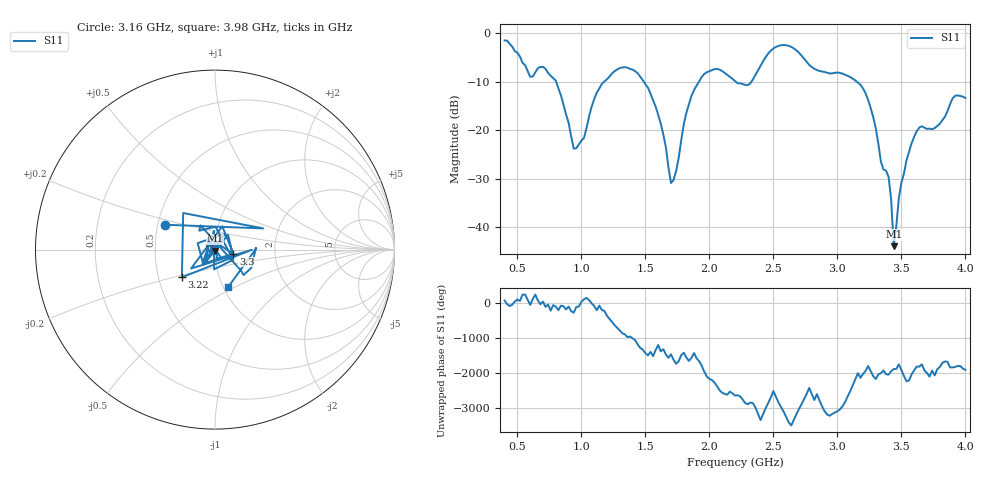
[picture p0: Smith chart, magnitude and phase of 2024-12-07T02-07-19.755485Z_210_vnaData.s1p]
!Created with skrf (http://scikit-rf.org).
# Hz S RI R 50.0
!freq ReS11 ImS11
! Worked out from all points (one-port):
!   181 points, 400 MHz to 4 GHz, reference 50 ohm
!   lowest |S11| = -43.9 dB at 3.44 GHz (marker M1), VSWR 1.01, Z = 50 - j0.635 ohm
!   |S11| at or under -10 dB: 803 MHz to 1.178 GHz (374.7 MHz wide, 37.8 % of centre); 1.488 GHz to 1.919 GHz (430.8 MHz wide, 25.3 % of centre); 3.152 GHz to end of sweep (the widest 3 of 4)
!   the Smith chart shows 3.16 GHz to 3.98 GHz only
!   S11 on the Smith chart (normalised r, x): 3.16 GHz: 0.55, +0.17; 3.22 GHz: 0.66, -0.22; 3.3 GHz: 1.23, -0.06; 3.98 GHz: 1.05, -0.46
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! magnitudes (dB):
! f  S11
! 400 MHz  -1.5
! 600 MHz  -9.0
! 720 MHz  -7.3
! 860 MHz  -14.7
! 960 MHz  -23.7
! 1.12 GHz  -12.3
! 1.3 GHz  -7.2
! 1.52 GHz  -11.2
! 1.62 GHz  -18.7
! 1.7 GHz  -30.9
! 1.76 GHz  -25.7
! 1.82 GHz  -16.4
! 1.94 GHz  -9.0
! 2.2 GHz  -9.9
! 2.66 GHz  -3.1
! 3.1 GHz  -9.0
! 3.16 GHz  -10.2
! 3.22 GHz  -12.4
! 3.3 GHz  -19.6
! 3.34 GHz  -26.5
! 3.4 GHz  -29.6
! 3.42 GHz  -34.3
! 3.44 GHz  -43.9
! 3.48 GHz  -34.0
! 3.56 GHz  -24.4
! 3.64 GHz  -19.5
! 3.98 GHz  -13.1
! 4 GHz  -13.4
